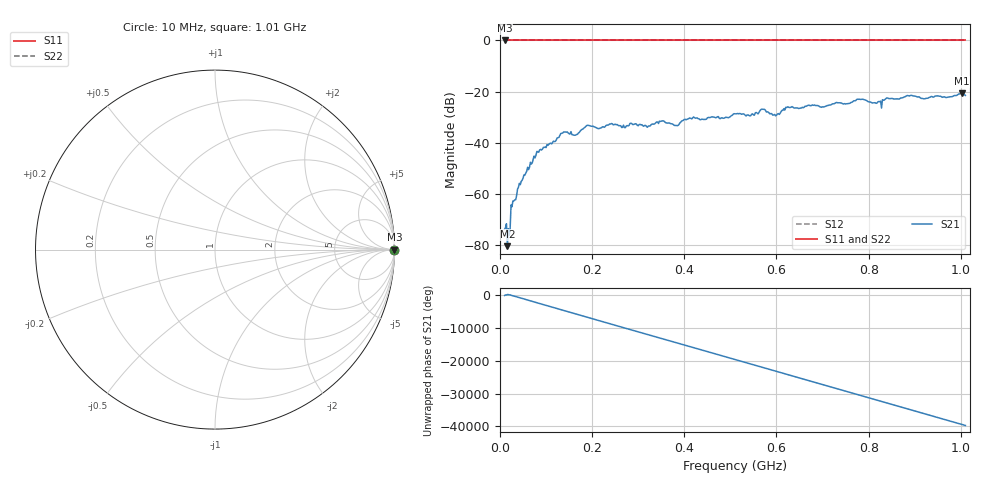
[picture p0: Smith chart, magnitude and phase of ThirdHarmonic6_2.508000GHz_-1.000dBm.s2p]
! 8/17/2025 4:51:29 AM
! C:\ANRITSUVNA\TEMP\TEMP.S2P
! CHANNEL.1
! TR.MEASUREMENT
! RAW.DATA
! RF.CORRECTION.OFF
! AVERAGING.OFF
! IF.BANDWIDTH: 5KHZ
! SWEEPTYPE:  FREQ.SWEEP(Linear)
! Reference Plane Port Info
! PORT:  PORT1  PORT2
! DISTANCE:  0  m  0  m
! TIME:  0  s  0  s
! PHASE.OFFSET:  0  deg.  0  deg.
! LOSS:  0  dB  0  dB
! REF.LOSS:  0  dB  0  dB
! REF.FREQ:  0  Hz  0  Hz
! Power Info
! POWER:  -20  dBm  -20  dBm
! EFF.POWER:  -20  dBm  -20  dBm
! SOURCE.ATTEN:  0  dB  0  dB
! TEST.ATTEN:  0  dB  0  dB
# GHZ S RI R 50.0
! FREQ.GHZ  S11RE  S11IM  S21RE  S21IM  S12RE  S12IM  S22RE  S22IM
!; PortSelection: Port_12
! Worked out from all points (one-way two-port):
!   501 points, 10 MHz to 1.01 GHz, reference 50 ohm
!   highest |S21| = -20.76 dB at 1.002 GHz (marker M1); lowest = -80.6 dB at 16 MHz (marker M2)
!   lowest |S11| = 0.0 dB at 10 MHz (marker M3)
!   |S11| at or under -10 dB: nowhere
!   |S22| runs from 0.0 to 0.0 dB; largest |S21 - S12| = 1.1
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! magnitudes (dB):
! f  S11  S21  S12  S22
! 10 MHz  0.0  -73.9  0.0  0.0
! 16 MHz  0.0  -80.6  0.0  0.0
! 20 MHz  0.0  -76.3  0.0  0.0
! 28 MHz  0.0  -62.9  0.0  0.0
! 42 MHz  0.0  -56.0  0.0  0.0
! 78 MHz  0.0  -45.0  0.0  0.0
! 136 MHz  0.0  -36.3  0.0  0.0
! 164 MHz  0.0  -37.1  0.0  0.0
! 178 MHz  0.0  -34.8  0.0  0.0
! 344 MHz  0.0  -32.5  0.0  0.0
! 382 MHz  0.0  -33.3  0.0  0.0
! 416 MHz  0.0  -30.7  0.0  0.0
! 510 MHz  0.0  -28.7  0.0  0.0
! 542 MHz  0.0  -29.5  0.0  0.0
! 570 MHz  0.0  -27.0  0.0  0.0
! 596 MHz  0.0  -29.0  0.0  0.0
! 624 MHz  0.0  -26.0  0.0  0.0
! 678 MHz  0.0  -25.2  0.0  0.0
! 824 MHz  0.0  -24.0  0.0  0.0
! 844 MHz  0.0  -22.8  0.0  0.0
! 1.002 GHz  0.0  -20.8  0.0  0.0
! 1.01 GHz  0.0  -21.5  0.0  0.0
